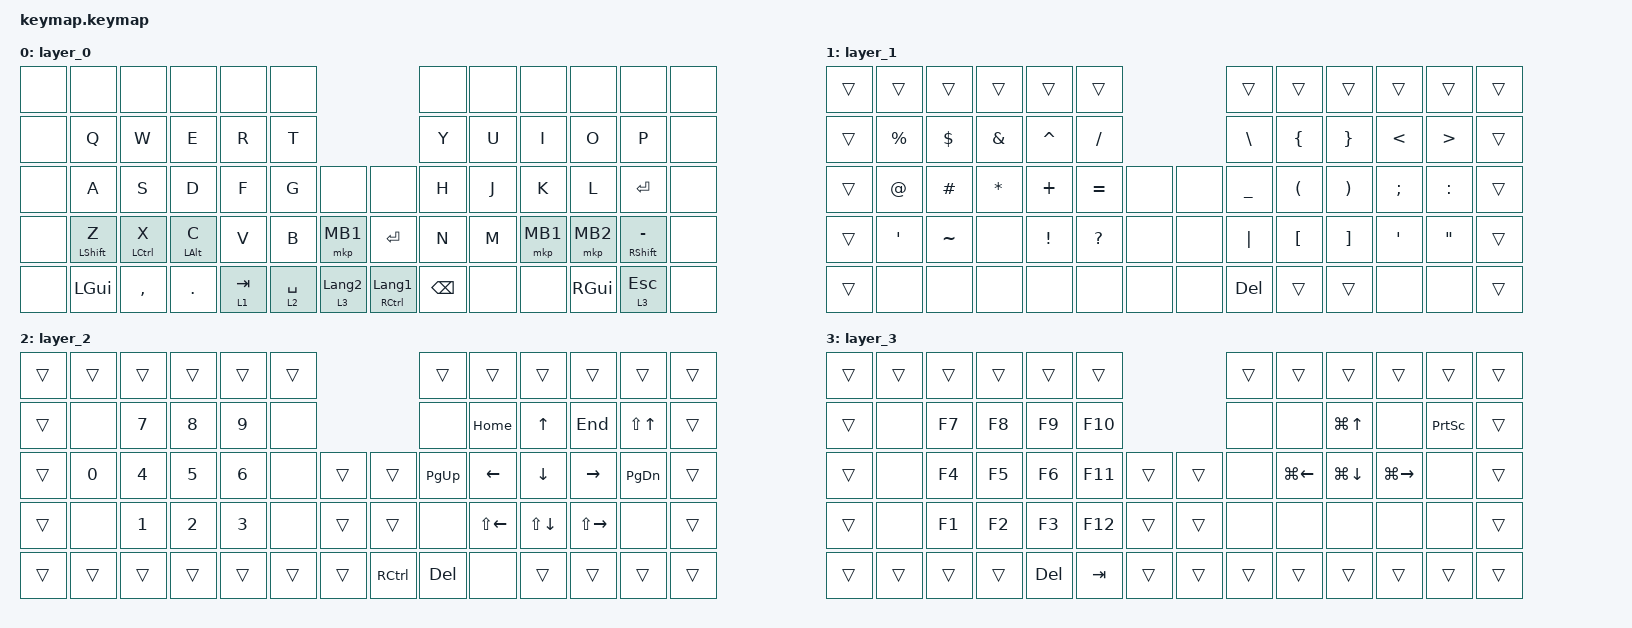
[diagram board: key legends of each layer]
#include <input/processors.dtsi>  /* ←★この1行を追加！★ */
#include <behaviors.dtsi>
#include <dt-bindings/zmk/bt.h>
#include <dt-bindings/zmk/keys.h>
#include <dt-bindings/zmk/pointing.h>

&mt {
    tapping-term-ms = <200>;
    flavor = "tap-preferred";
};

/ {
    combos {
        compatible = "zmk,combos";

        bt_clear {
            bindings = <&bt BT_CLR>;
            key-positions = <28 29>;
            layers = <2>;
        };
    };

    keymap {
        compatible = "zmk,keymap";

        layer_0 {
            bindings = <
&none  &none             &none               &none           &none      &none                                                &none          &none  &none     &none          &none                  &none
&none  &kp Q             &kp W               &kp E           &kp R      &kp T                                                &kp Y          &kp U  &kp I     &kp O          &kp P                  &none
&none  &kp A             &kp S               &kp D           &kp F      &kp G        &none             &none                 &kp H          &kp J  &kp K     &kp L          &kp ENTER              &none
&none  &mt LEFT_SHIFT Z  &mt LEFT_CONTROL X  &mt LEFT_ALT C  &kp V      &kp B        &mkp MB1          &kp RET               &kp N          &kp M  &mkp MB1  &mkp MB2       &mt RIGHT_SHIFT MINUS  &none
&none  &kp LEFT_GUI      &kp COMMA           &kp PERIOD      &lt 1 TAB  &lt 2 SPACE  &lt 3 LANGUAGE_2  &mt RCTRL LANGUAGE_1  &kp BACKSPACE  &none  &none     &kp RIGHT_GUI  &lt 3 ESCAPE           &none
            >;
        };

        layer_1 {
            bindings = <
&trans  &trans       &trans      &trans         &trans           &trans                      &trans          &trans                &trans                 &trans            &trans             &trans
&trans  &kp PERCENT  &kp DOLLAR  &kp AMPERSAND  &kp CARET        &kp SLASH                   &kp BACKSLASH   &kp LEFT_BRACE        &kp RIGHT_BRACE        &kp LESS_THAN     &kp GREATER_THAN   &trans
&trans  &kp AT_SIGN  &kp HASH    &kp ASTERISK   &kp PLUS         &kp EQUAL     &none  &none  &kp UNDERSCORE  &kp LEFT_PARENTHESIS  &kp RIGHT_PARENTHESIS  &kp SEMICOLON     &kp COLON          &trans
&trans  &kp APOS     &kp TILDE   &none          &kp EXCLAMATION  &kp QUESTION  &none  &none  &kp PIPE        &kp LEFT_BRACKET      &kp RIGHT_BRACKET      &kp SINGLE_QUOTE  &kp DOUBLE_QUOTES  &trans
&trans  &none        &none       &none          &none            &none         &none  &none  &kp DELETE      &trans                &trans                 &none             &none              &trans
            >;
        };

        layer_2 {
            bindings = <
&trans  &trans        &trans        &trans        &trans        &trans                     &trans       &trans              &trans              &trans               &trans            &trans
&trans  &none         &kp NUMBER_7  &kp NUMBER_8  &kp NUMBER_9  &none                      &none        &kp HOME            &kp UP_ARROW        &kp END              &kp LS(UP_ARROW)  &trans
&trans  &kp NUMBER_0  &kp NUMBER_4  &kp NUMBER_5  &kp NUMBER_6  &none   &trans  &trans     &kp PAGE_UP  &kp LEFT_ARROW      &kp DOWN_ARROW      &kp RIGHT_ARROW      &kp PAGE_DOWN     &trans
&trans  &none         &kp NUMBER_1  &kp NUMBER_2  &kp NUMBER_3  &none   &trans  &trans     &none        &kp LS(LEFT_ARROW)  &kp LS(DOWN_ARROW)  &kp LS(RIGHT_ARROW)  &none             &trans
&trans  &trans        &trans        &trans        &trans        &trans  &trans  &kp RCTRL  &kp DEL      &none               &trans              &trans               &trans            &trans
            >;
        };

        layer_3 {
            bindings = <
&trans  &trans  &trans  &trans  &trans      &trans                   &trans  &trans              &trans              &trans               &trans           &trans
&trans  &none   &kp F7  &kp F8  &kp F9      &kp F10                  &none   &none               &kp LG(UP_ARROW)    &none                &kp PRINTSCREEN  &trans
&trans  &none   &kp F4  &kp F5  &kp F6      &kp F11  &trans  &trans  &none   &kp LG(LEFT_ARROW)  &kp LG(DOWN_ARROW)  &kp LG(RIGHT_ARROW)  &none            &trans
&trans  &none   &kp F1  &kp F2  &kp F3      &kp F12  &trans  &trans  &none   &none               &none               &none                &none            &trans
&trans  &trans  &trans  &trans  &kp DELETE  &kp TAB  &trans  &trans  &trans  &trans              &trans              &trans               &trans           &trans
            >;
        };
    };
};

/* トラックボールのスクロール設定（Layer 3で発動） */

&pointing_listener {
    scroll_layer_3 {
        layers = <3>;
        input-processors = <&zip_xy_to_scroll_mapper>;
    };
};
